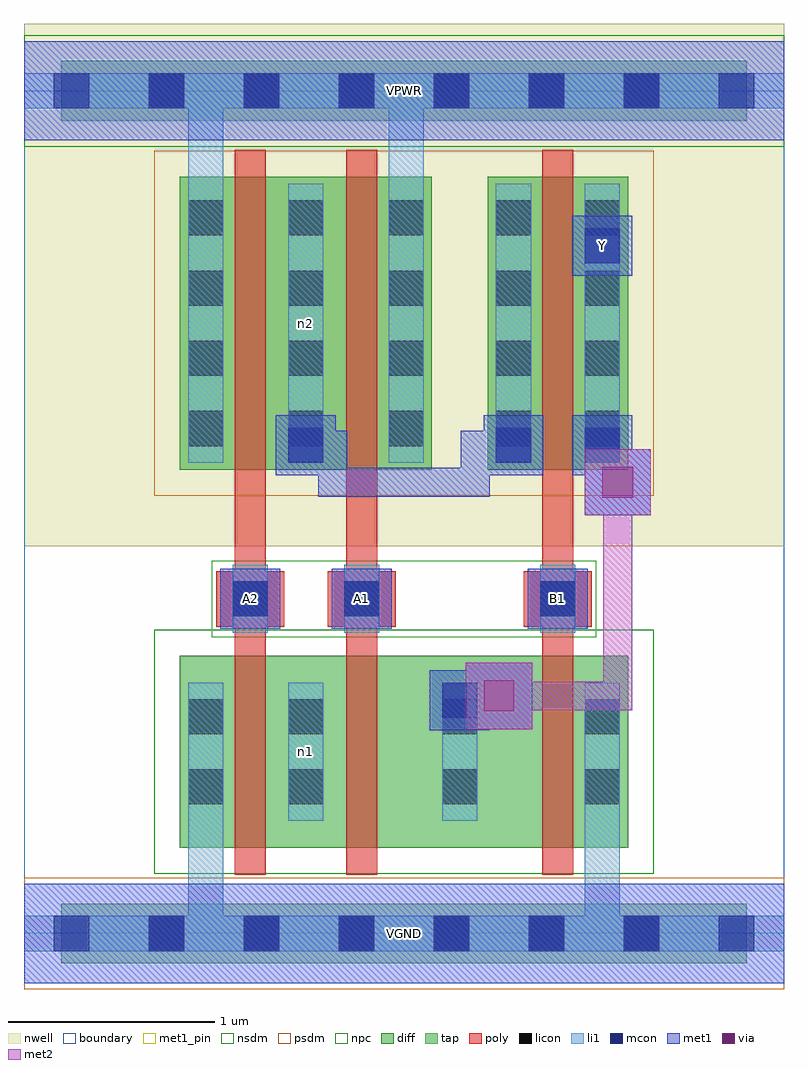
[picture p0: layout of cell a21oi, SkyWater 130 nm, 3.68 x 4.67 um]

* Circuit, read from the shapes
.subckt a21oi A1 A2 B1 VGND VPWR Y n1 n2
XM1 n1 A2 VGND VGND sky130_fd_pr__nfet_01v8 w=0.93 l=0.15
XM2 Y A1 n1 VGND sky130_fd_pr__nfet_01v8 w=0.93 l=0.15
XM3 VGND B1 Y VGND sky130_fd_pr__nfet_01v8 w=0.93 l=0.15
XM4 n2 A2 VPWR VPWR sky130_fd_pr__pfet_01v8 w=1.42 l=0.15
XM5 VPWR A1 n2 VPWR sky130_fd_pr__pfet_01v8 w=1.42 l=0.15
XM6 Y B1 n2 VPWR sky130_fd_pr__pfet_01v8 w=1.42 l=0.15
.ends

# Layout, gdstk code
import gdstk
lib = gdstk.Library(unit=1e-6, precision=1e-09)
def R(c, l, rs):  # rectangles x0, y0, x1, y1
    for r in rs: c.add(gdstk.rectangle(r[:2], r[2:], *l))
def A(c, l, x, y, w, h, nx, ny, dx, dy):  # array of equal rectangles
    R(c, l, [(x+i*dx, y+j*dy, x+i*dx+w, y+j*dy+h) for i in range(nx) for j in range(ny)])
nwell = (64, 20)
diff = (65, 20)
tap = (65, 44)
poly = (66, 20)
licon = (66, 44)
li1 = (67, 20)
mcon = (67, 44)
met1_pin = (68, 16)
met1 = (68, 20)
via = (68, 44)
met2 = (69, 20)
nsdm = (93, 44)
psdm = (94, 20)
npc = (95, 20)
boundary = (235, 4)

a21oi = lib.new_cell('a21oi')
R(a21oi, nwell, [(0,1.875,3.68,4.405)])
R(a21oi, diff, [(0.755,0.415,2.925,1.345), (0.755,2.245,1.975,3.665), (2.245,2.245,2.925,3.665)])
R(a21oi, tap, [(0.18,-0.145,3.5,0.145), (0.18,3.935,3.5,4.225)])
R(a21oi, poly, [(1.02,0.285,1.17,3.795), (1.56,0.285,1.71,3.795), (2.51,0.285,2.66,3.795), (0.93,1.485,1.26,1.755), (1.47,1.485,1.8,1.755), (2.42,1.485,2.75,1.755)])
A(a21oi, licon, 0.605, -0.085, 0.17, 0.17, 6, 2, 0.46, 4.08)
A(a21oi, licon, 0.795, 2.36, 0.17, 0.17, 3, 4, 0.485, 0.34)
A(a21oi, licon, 2.285, 2.36, 0.17, 0.17, 1, 4, 0, 0.34)
A(a21oi, licon, 2.715, 2.36, 0.17, 0.17, 1, 4, 0, 0.34)
R(a21oi, licon, [(0.795,0.625,0.965,0.795), (1.28,0.625,1.45,0.795), (2.025,0.625,2.195,0.795), (2.715,0.625,2.885,0.795), (0.795,0.965,0.965,1.135), (1.28,0.965,1.45,1.135), (2.025,0.965,2.195,1.135), (2.715,0.965,2.885,1.135), (1.01,1.535,1.18,1.705), (1.55,1.535,1.72,1.705), (2.5,1.535,2.67,1.705)])
A(a21oi, li1, 0.795, 2.28, 0.17, 1.35, 3, 1, 0.485, 0)
R(a21oi, li1, [(0,-0.085,3.68,0.085), (0.795,-0.085,0.965,1.215), (2.715,-0.085,2.885,1.215), (0.795,0.545,0.965,1.215), (1.28,0.545,1.45,1.215), (2.025,0.545,2.195,1.215), (2.715,0.545,2.885,1.215), (1.01,1.455,1.18,1.785), (1.55,1.455,1.72,1.785), (2.5,1.455,2.67,1.785), (0.795,2.28,0.965,4.165), (1.765,2.28,1.935,4.165), (2.285,2.28,2.455,3.63), (2.715,2.28,2.885,3.63), (0,3.995,3.68,4.165)])
A(a21oi, mcon, 0.145, -0.085, 0.17, 0.17, 8, 2, 0.46, 4.08)
R(a21oi, mcon, [(2.025,1.045,2.195,1.215), (1.01,1.535,1.18,1.705), (1.55,1.535,1.72,1.705), (2.5,1.535,2.67,1.705), (1.28,2.28,1.45,2.45), (2.285,2.28,2.455,2.45), (2.715,2.28,2.885,2.45), (2.715,3.245,2.885,3.415)])
R(a21oi, met1_pin, [(0,-0.24,3.68,0.24), (0.95,1.475,1.24,1.765), (1.49,1.475,1.78,1.765), (2.44,1.475,2.73,1.765), (2.655,3.185,2.945,3.475), (0,3.84,3.68,4.32)])
A(a21oi, met1, 1.425, 2.115, 0.14, 0.32, 3, 1, 0.69, 0)
R(a21oi, met1, [(0,-0.24,3.68,0.24), (1.965,0.985,2.255,1.275), (2.14,0.99,2.46,1.31), (2.04,1.06,2.37,1.2), (2.23,1.06,2.37,1.22), (0.95,1.475,1.24,1.765), (1.49,1.475,1.78,1.765), (2.44,1.475,2.73,1.765), (2.715,2.025,3.035,2.345), (1.425,2.115,2.255,2.255), (1.22,2.22,1.51,2.51), (2.225,2.22,2.515,2.51), (2.655,2.22,2.945,2.51), (1.295,2.295,1.565,2.435), (2.115,2.295,2.44,2.435), (2.73,2.295,2.945,2.435), (2.655,3.185,2.945,3.475), (0,3.84,3.68,4.32)])
R(a21oi, via, [(2.225,1.075,2.375,1.225), (2.8,2.11,2.95,2.26)])
R(a21oi, met2, [(2.14,0.99,2.46,1.31), (2.23,1.08,2.945,1.22), (2.805,1.08,2.945,2.255), (2.715,2.025,3.035,2.345)])
R(a21oi, nsdm, [(0.63,0.29,3.05,1.47), (0,3.81,3.68,4.35)])
R(a21oi, psdm, [(0,-0.27,3.68,0.27), (0.63,2.12,3.05,3.79)])
R(a21oi, npc, [(0.91,1.435,2.77,1.805)])
R(a21oi, boundary, [(0,0,3.68,4.08)])
a21oi.add(gdstk.Label('n1', (1.365,0.88), layer=67, texttype=5))
a21oi.add(gdstk.Label('n2', (1.365,2.955), layer=67, texttype=5))
a21oi.add(gdstk.Label('A1', (1.635,1.62), layer=68, texttype=5))
a21oi.add(gdstk.Label('A2', (1.095,1.62), layer=68, texttype=5))
a21oi.add(gdstk.Label('B1', (2.585,1.62), layer=68, texttype=5))
a21oi.add(gdstk.Label('Y', (2.8,3.33), layer=68, texttype=5))
a21oi.add(gdstk.Label('VPWR', (1.84,4.08), layer=68, texttype=5))
a21oi.add(gdstk.Label('VGND', (1.84,0), layer=68, texttype=5))
a21oi.add(gdstk.Label('A1', (1.635,1.62), layer=68, texttype=16))
a21oi.add(gdstk.Label('A2', (1.095,1.62), layer=68, texttype=16))
a21oi.add(gdstk.Label('B1', (2.585,1.62), layer=68, texttype=16))
a21oi.add(gdstk.Label('Y', (2.8,3.33), layer=68, texttype=16))
a21oi.add(gdstk.Label('VPWR', (1.84,4.08), layer=68, texttype=16))
a21oi.add(gdstk.Label('VGND', (1.84,0), layer=68, texttype=16))

lib.write_gds('a21oi.gds')
